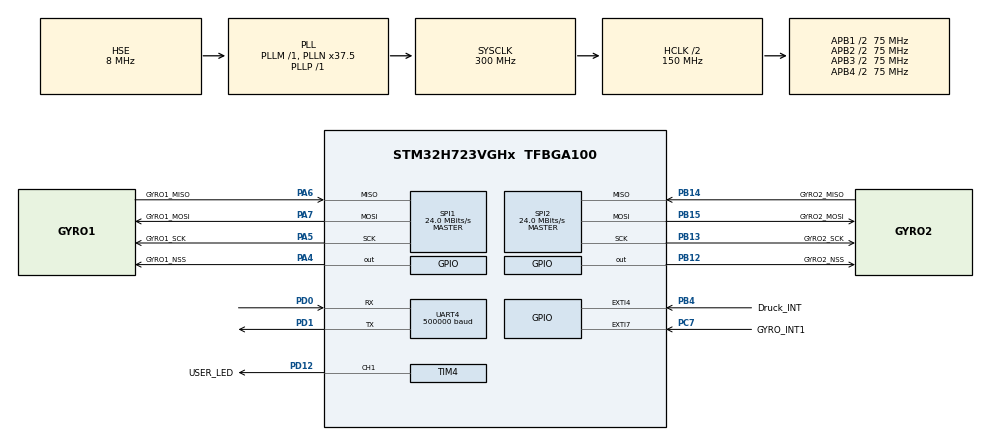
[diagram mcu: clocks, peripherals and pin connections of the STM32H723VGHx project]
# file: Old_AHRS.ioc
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ADC3.Channel-0\#ChannelRegularConversion=ADC_CHANNEL_TEMPSENSOR
ADC3.ClockPrescaler=ADC_CLOCK_ASYNC_DIV4
ADC3.NbrOfConversionFlag=1
ADC3.OffsetNumber-0\#ChannelRegularConversion=ADC_OFFSET_NONE
ADC3.OffsetSign-0\#ChannelRegularConversion=ADC3_OFFSET_SIGN_NEGATIVE
ADC3.Rank-0\#ChannelRegularConversion=1
ADC3.SamplingTime-0\#ChannelRegularConversion=ADC3_SAMPLETIME_2CYCLES_5
DTS.SamplingTime=DTS_SMP_TIME_15_CYCLE
Dma.Request0=SPI1_RX
Dma.Request1=SPI1_TX
Dma.SPI1_RX.0.Direction=DMA_PERIPH_TO_MEMORY
Dma.SPI1_RX.0.EventEnable=DISABLE
Dma.SPI1_RX.0.FIFOMode=DMA_FIFOMODE_DISABLE
Dma.SPI1_RX.0.Instance=DMA1_Stream0
Dma.SPI1_RX.0.MemDataAlignment=DMA_MDATAALIGN_BYTE
Dma.SPI1_RX.0.MemInc=DMA_MINC_ENABLE
Dma.SPI1_RX.0.Mode=DMA_NORMAL
Dma.SPI1_RX.0.PeriphDataAlignment=DMA_PDATAALIGN_BYTE
Dma.SPI1_RX.0.PeriphInc=DMA_PINC_DISABLE
Dma.SPI1_RX.0.Polarity=HAL_DMAMUX_REQ_GEN_RISING
Dma.SPI1_RX.0.Priority=DMA_PRIORITY_LOW
Dma.SPI1_RX.0.RequestNumber=1
Dma.SPI1_RX.0.SignalID=NONE
Dma.SPI1_RX.0.SyncEnable=DISABLE
Dma.SPI1_RX.0.SyncPolarity=HAL_DMAMUX_SYNC_NO_EVENT
Dma.SPI1_RX.0.SyncRequestNumber=1
Dma.SPI1_RX.0.SyncSignalID=NONE
Dma.SPI1_TX.1.Direction=DMA_MEMORY_TO_PERIPH
Dma.SPI1_TX.1.EventEnable=DISABLE
Dma.SPI1_TX.1.FIFOMode=DMA_FIFOMODE_DISABLE
Dma.SPI1_TX.1.Instance=DMA1_Stream1
Dma.SPI1_TX.1.MemDataAlignment=DMA_MDATAALIGN_BYTE
Dma.SPI1_TX.1.MemInc=DMA_MINC_ENABLE
Dma.SPI1_TX.1.Mode=DMA_NORMAL
Dma.SPI1_TX.1.PeriphDataAlignment=DMA_PDATAALIGN_BYTE
Dma.SPI1_TX.1.PeriphInc=DMA_PINC_DISABLE
Dma.SPI1_TX.1.Polarity=HAL_DMAMUX_REQ_GEN_RISING
Dma.SPI1_TX.1.Priority=DMA_PRIORITY_LOW
Dma.SPI1_TX.1.RequestNumber=1
Dma.SPI1_TX.1.SignalID=NONE
Dma.SPI1_TX.1.SyncEnable=DISABLE
Dma.SPI1_TX.1.SyncPolarity=HAL_DMAMUX_SYNC_NO_EVENT
Dma.SPI1_TX.1.SyncRequestNumber=1
Dma.SPI1_TX.1.SyncSignalID=NONE
Mcu.Family=STM32H7
Mcu.Name=STM32H723VGHx
Mcu.Package=TFBGA100
NVIC.DMA1_Stream0_IRQn=true\:0\:0\:false\:false\:true\:false\:true\:true
NVIC.DMA1_Stream1_IRQn=true\:0\:0\:false\:false\:true\:false\:true\:true
NVIC.EXTI4_IRQn=true\:0\:0\:false\:false\:true\:true\:true\:true
NVIC.EXTI9_5_IRQn=true\:0\:0\:false\:false\:true\:true\:true\:false
NVIC.PriorityGroup=NVIC_PRIORITYGROUP_4
NVIC.SPI1_IRQn=true\:0\:0\:false\:false\:true\:true\:true\:true
NVIC.SPI2_IRQn=true\:0\:0\:false\:false\:true\:true\:true\:true
NVIC.TIM4_IRQn=true\:0\:0\:false\:false\:true\:true\:true\:true
PA13(JTMS/SWDIO).Mode=Trace_Asynchronous_SW
PA13(JTMS/SWDIO).Signal=DEBUG_JTMS-SWDIO
PA14(JTCK/SWCLK).Mode=Trace_Asynchronous_SW
PA14(JTCK/SWCLK).Signal=DEBUG_JTCK-SWCLK
PA4.GPIO_Label=GYRO1_NSS
PA4.Signal=GPIO_Output
PA5.GPIO_Label=GYRO1_SCK
PA5.Mode=Full_Duplex_Master
PA5.Signal=SPI1_SCK
PA6.GPIO_Label=GYRO1_MISO
PA6.Mode=Full_Duplex_Master
PA6.Signal=SPI1_MISO
PA7.GPIO_Label=GYRO1_MOSI
PA7.Mode=Full_Duplex_Master
PA7.Signal=SPI1_MOSI
PB12.GPIO_Label=GYRO2_NSS
PB12.GPIO_Speed=GPIO_SPEED_FREQ_MEDIUM
PB12.PinState=GPIO_PIN_SET
PB12.Signal=GPIO_Output
PB13.GPIO_Label=GYRO2_SCK
PB13.GPIO_Mode=GPIO_MODE_AF_PP
PB13.GPIO_PuPd=GPIO_NOPULL
PB13.GPIO_Speed=GPIO_SPEED_FREQ_LOW
PB13.Mode=Full_Duplex_Master
PB13.Signal=SPI2_SCK
PB14.GPIO_Label=GYRO2_MISO
PB14.GPIO_Mode=GPIO_MODE_AF_PP
PB14.GPIO_PuPd=GPIO_NOPULL
PB14.GPIO_Speed=GPIO_SPEED_FREQ_LOW
PB14.Mode=Full_Duplex_Master
PB14.Signal=SPI2_MISO
PB15.GPIO_Label=GYRO2_MOSI
PB15.GPIO_Mode=GPIO_MODE_AF_PP
PB15.GPIO_PuPd=GPIO_NOPULL
PB15.GPIO_Speed=GPIO_SPEED_FREQ_LOW
PB15.Mode=Full_Duplex_Master
PB15.Signal=SPI2_MOSI
PB3(JTDO/TRACESWO).Mode=Trace_Asynchronous_SW
PB3(JTDO/TRACESWO).Signal=DEBUG_JTDO-SWO
PB4(NJTRST).GPIO_Label=Druck_INT
PB4(NJTRST).Signal=GPXTI4
PC7.GPIO_Label=GYRO_INT1
PC7.Signal=GPXTI7
PD0.Mode=Asynchronous
PD0.Signal=UART4_RX
PD1.Mode=Asynchronous
PD1.Signal=UART4_TX
PD12.GPIO_Label=USER_LED
PD12.Signal=S_TIM4_CH1
PH0-OSC_IN.Mode=HSE-External-Oscillator
PH0-OSC_IN.Signal=RCC_OSC_IN
PH1-OSC_OUT.Mode=HSE-External-Oscillator
PH1-OSC_OUT.Signal=RCC_OSC_OUT
ProjectManager.HeapSize=0x200
ProjectManager.StackSize=0x400
ProjectManager.TargetToolchain=STM32CubeIDE
RCC.ADCFreq_Value=48000000
RCC.APB1Freq_Value=75000000
RCC.APB2Freq_Value=75000000
RCC.APB3Freq_Value=75000000
RCC.APB4Freq_Value=75000000
RCC.CortexFreq_Value=37500000
RCC.Cortex_Div=SYSTICK_CLKSOURCE_HCLK_DIV8
RCC.D1PPRE=RCC_APB3_DIV2
RCC.D2PPRE1=RCC_APB1_DIV2
RCC.D2PPRE2=RCC_APB2_DIV2
RCC.D3PPRE=RCC_APB4_DIV2
RCC.DIVM1=1
RCC.DIVM2=1
RCC.DIVN1=37
RCC.DIVN2=24
RCC.DIVP1=1
RCC.DIVP2=4
RCC.DIVQ1=5
RCC.EnbaleCSS=false
RCC.FDCANCLockSelection=RCC_FDCANCLKSOURCE_HSE
RCC.HCLKFreq_Value=150000000
RCC.HPRE=RCC_HCLK_DIV2
RCC.HSE_VALUE=8000000
RCC.PLL1_VCO_SEL-AdvancedSettings=RCC_PLL1VCOWIDE
RCC.PLL2FRACN=0
RCC.PLL2_VCO_SEL-AdvancedSettings=RCC_PLL2VCOMEDIUM
RCC.PLL3FRACN=0
RCC.PLL3_VCO_SEL-AdvancedSettings=RCC_PLL3VCOMEDIUM
RCC.PLLFRACN=4096
RCC.PLLSourceVirtual=RCC_PLLSOURCE_HSE
RCC.SPI123CLockSelection=RCC_SPI123CLKSOURCE_PLL2
RCC.SYSCLKFreq_VALUE=300000000
RCC.SYSCLKSource=RCC_SYSCLKSOURCE_PLLCLK
RCC.USBFreq_Value=60000000
SH.S_TIM4_CH1.0=TIM4_CH1,PWM Generation1 CH1
SPI1.BaudRatePrescaler=SPI_BAUDRATEPRESCALER_2
SPI1.CLKPhase=SPI_PHASE_2EDGE
SPI1.CLKPolarity=SPI_POLARITY_HIGH
SPI1.CalculateBaudRate=24.0 MBits/s
SPI1.DataSize=SPI_DATASIZE_8BIT
SPI1.Direction=SPI_DIRECTION_2LINES
SPI1.Mode=SPI_MODE_MASTER
SPI1.NSSPMode=SPI_NSS_PULSE_DISABLE
SPI1.VirtualType=VM_MASTER
SPI2.BaudRatePrescaler=SPI_BAUDRATEPRESCALER_2
SPI2.CLKPhase=SPI_PHASE_2EDGE
SPI2.CLKPolarity=SPI_POLARITY_HIGH
SPI2.CalculateBaudRate=24.0 MBits/s
SPI2.DataSize=SPI_DATASIZE_8BIT
SPI2.Direction=SPI_DIRECTION_2LINES
SPI2.Mode=SPI_MODE_MASTER
SPI2.NSSPMode=SPI_NSS_PULSE_DISABLE
SPI2.VirtualType=VM_MASTER
TIM3.Period=8593
TIM3.Prescaler=0
TIM4.Channel-PWM\ Generation1\ CH1=TIM_CHANNEL_1
TIM4.ClockDivision=TIM_CLOCKDIVISION_DIV1
TIM4.CounterMode=TIM_COUNTERMODE_UP
TIM4.Period=13749
TIM4.Prescaler=9999
UART4.BaudRate=500000
VP_ADC3_TempSens_Input.Mode=IN-TempSens
VP_CORDIC_VS_CORDIC.Mode=CORDIC_Activate
VP_DTS_VS-DTS.Mode=DTS
VP_TIM3_VS_ClockSourceINT.Mode=Internal
VP_TIM4_VS_ClockSourceINT.Mode=Internal
board=custom

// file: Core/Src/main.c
/* USER CODE BEGIN Header */
/**
  ******************************************************************************
  * @file           : main.c
  * @brief          : Main program body
  ******************************************************************************
  * @attention
  *
  * Copyright (c) 2024 STMicroelectronics.
  * All rights reserved.
  *
  * This software is licensed under terms that can be found in the LICENSE file
  * in the root directory of this software component.
  * If no LICENSE file comes with this software, it is provided AS-IS.
  *
  ******************************************************************************
  */
/* USER CODE END Header */
#include "main.h"
#include "adc.h"
#include "cordic.h"
#include "dma.h"
#include "dts.h"
#include "spi.h"
#include "tim.h"
#include "usart.h"
#include "gpio.h"

/* USER CODE BEGIN Includes */

#include "string.h"
#include "math.h"
#include "STM32_Cordic.h"
#include "stdio.h"
#include "IMU_struct.h"
#include "IMU_cmds.h"

/* USER CODE END Includes */

/* USER CODE BEGIN PV */

const float PI = 3.14159265359;

//Magnetometer variables 0xD << 1
const uint16_t QMC5833_ADDR = (0xD << 1);
int Magnetometer_Set_up_done = 0;// 0 set up not yet done | 1 set up is done
uint8_t raw_int_Magnetometer_data[6] = {0};
int16_t int_Megnetometer_data[3] = {0};
float  Magnetometer_data[3] = {0};
int new_Magnetometer_data = 0;//Indicates new Magnetometer data

//Pressure sensor variables
const uint16_t BMP388_ADDR = (0b1110110);

//IMU variables
extern uint8_t IMU1_SPI_IT_Finished;
extern uint8_t IMU2_SPI_IT_Finished;

/* USER CODE END PV */

void SystemClock_Config(void);
void PeriphCommonClock_Config(void);
/* USER CODE BEGIN PFP */

HAL_StatusTypeDef debug_uart4_write_text(char *pData);
HAL_StatusTypeDef debug_uart4_write_float(float number);
HAL_StatusTypeDef debug_uart4_write_int(int number);
void Debug_send_Tempreture(void);
void HAL_GPIO_EXTI_Callback(uint16_t GPIO_Pin);
void HAL_SPI_TxRxCpltCallback(SPI_HandleTypeDef *hspi);

/* USER CODE END PFP */

int main(void)
{

  /* MCU Configuration--------------------------------------------------------*/

  /* Reset of all peripherals, Initializes the Flash interface and the Systick. */
  HAL_Init();

  /* Configure the system clock */
  SystemClock_Config();

/* Configure the peripherals common clocks */
  PeriphCommonClock_Config();

  /* Initialize all configured peripherals */
  MX_GPIO_Init();
  MX_DMA_Init();
  MX_UART4_Init();
  MX_SPI2_Init();
  MX_TIM4_Init();
  MX_TIM3_Init();
  MX_ADC3_Init();
  MX_DTS_Init();
  MX_CORDIC_Init();
  MX_SPI1_Init();
  /* USER CODE BEGIN 2 */

  //UART Debuging prep
  uint8_t buffer[50];
  memset(buffer, 0, sizeof(buffer));

  HAL_TIM_PWM_Start(&htim4, TIM_CHANNEL_1); //Start USER LED
  TIM4->CCR1 = 6874; // f ~ +2Hz

  //Starten des empfangens einer UART Nachricht
  //HAL_UARTEx_ReceiveToIdle_DMA(&huart4, rxbuffer, sizeof(rxbuffer));

  HAL_DTS_Start(&hdts);//Starts the digital tempreture sensor

  //Initialisation of the IMU structs
  IMU IMU1_data;
  IMU_struct_set_up(&IMU1_data, IMU1_accel_scale, IMU1_gyro_scale, IMU1_freq);
  IMU1_data.SPI_handler = hspi1;
  IMU1_data.GPIO_port = GYRO1_NSS_GPIO_Port;
  IMU1_data.GPIO_Pin = GYRO1_NSS_Pin;

  IMU IMU2_data;
  IMU_struct_set_up(&IMU2_data, IMU2_accel_scale, IMU2_gyro_scale, IMU2_freq);
  IMU2_data.SPI_handler = hspi2;
  IMU2_data.GPIO_port = GYRO2_NSS_GPIO_Port;
  IMU2_data.GPIO_Pin = GYRO2_NSS_Pin;

  HAL_NVIC_EnableIRQ(SPI1_IRQn);
  HAL_NVIC_EnableIRQ(SPI2_IRQn);

	uint16_t length = 2;
	uint8_t TXData[2] = {117 | 0x80, 0}; // 0x80 results in a Read-operation
	uint8_t RXData[2] = {0, 111};

	uint8_t ERROR_NOTICE = 0;
	uint32_t SPI1_ERROR_COUNT = 0;
	uint32_t SPI2_ERROR_COUNT = 0;

	HAL_Delay(50);
	int i = 1;

  /* USER CODE END 2 */

  /* Infinite loop */
  /* USER CODE BEGIN WHILE */
  while (1)
  {
	  RXData[1] = 25;

	  if(IMU_send_cmd(&IMU1_data, TXData, RXData, length) != HAL_OK)
	  {
		  debug_uart4_write_text("\nSPI1 HAL ERROR");
	  }
	//IMU1_SPI_IT_Finished = 0;
	/*HAL_GPIO_WritePin(IMU1_data.GPIO_port, IMU1_data.GPIO_Pin, GPIO_PIN_RESET );
	HAL_SPI_TransmitReceive_IT(&hspi1, TXData, RXData, length);
	while(IMU1_SPI_IT_Finished == 0)
		{

		}
	HAL_GPIO_WritePin(IMU1_data.GPIO_port, IMU1_data.GPIO_Pin, GPIO_PIN_RESET );
	HAL_SPI_TransmitReceive_DMA(&hspi1, TXData, RXData, length);
	while(IMU1_SPI_IT_Finished == 0)
		{

		}*/

	  debug_uart4_write_text("\nWHO AM I (1): ");debug_uart4_write_int((int)RXData[1]);

	  if(RXData[1] != 71)
	  {
		  SPI1_ERROR_COUNT++;
		  ERROR_NOTICE = 1;
	  }

	  RXData[1] = 25;

	  if(IMU_send_cmd(&IMU2_data, TXData, RXData, length) != HAL_OK)
	  {
		  debug_uart4_write_text("\nSPI2 HAL ERROR");
	  }
	  /*
	  HAL_GPIO_WritePin(IMU2_data.GPIO_port, IMU1_data.GPIO_Pin, GPIO_PIN_RESET );
	  HAL_SPI_TransmitReceive_IT(&hspi2, TXData, RXData, length);
	  while(IMU2_SPI_IT_Finished == 0);
	  */

	  debug_uart4_write_text("; WHO AM I (2): ");debug_uart4_write_int((int)RXData[1]);

	  if(RXData[1] != 71)
	  {
		  SPI2_ERROR_COUNT++;
		  ERROR_NOTICE = 1;
	  }

	  if(ERROR_NOTICE == 1)
	  {
		  debug_uart4_write_text("  ");debug_uart4_write_int((int)SPI1_ERROR_COUNT);debug_uart4_write_text(" SPI1 errors, ");debug_uart4_write_int((int)SPI2_ERROR_COUNT);debug_uart4_write_text(" SPI2 errors");
	  }

    /* USER CODE END WHILE */

    /* USER CODE BEGIN 3 */
	  Debug_send_Tempreture();
	  HAL_Delay(i);

	  debug_uart4_write_text("\n Delay length(ms): ");debug_uart4_write_int(i);
	  i++;
  }
  /* USER CODE END 3 */
}

void SystemClock_Config(void)
{
  RCC_OscInitTypeDef RCC_OscInitStruct = {0};
  RCC_ClkInitTypeDef RCC_ClkInitStruct = {0};

  /** Supply configuration update enable
  */
  HAL_PWREx_ConfigSupply(PWR_LDO_SUPPLY);

  /** Configure the main internal regulator output voltage
  */
  __HAL_PWR_VOLTAGESCALING_CONFIG(PWR_REGULATOR_VOLTAGE_SCALE2);

  while(!__HAL_PWR_GET_FLAG(PWR_FLAG_VOSRDY)) {}

  /** Initializes the RCC Oscillators according to the specified parameters
  * in the RCC_OscInitTypeDef structure.
  */
  RCC_OscInitStruct.OscillatorType = RCC_OSCILLATORTYPE_HSE;
  RCC_OscInitStruct.HSEState = RCC_HSE_ON;
  RCC_OscInitStruct.PLL.PLLState = RCC_PLL_ON;
  RCC_OscInitStruct.PLL.PLLSource = RCC_PLLSOURCE_HSE;
  RCC_OscInitStruct.PLL.PLLM = 1;
  RCC_OscInitStruct.PLL.PLLN = 37;
  RCC_OscInitStruct.PLL.PLLP = 1;
  RCC_OscInitStruct.PLL.PLLQ = 5;
  RCC_OscInitStruct.PLL.PLLR = 2;
  RCC_OscInitStruct.PLL.PLLRGE = RCC_PLL1VCIRANGE_3;
  RCC_OscInitStruct.PLL.PLLVCOSEL = RCC_PLL1VCOWIDE;
  RCC_OscInitStruct.PLL.PLLFRACN = 4096;
  if (HAL_RCC_OscConfig(&RCC_OscInitStruct) != HAL_OK)
  {
    Error_Handler();
  }

  /** Initializes the CPU, AHB and APB buses clocks
  */
  RCC_ClkInitStruct.ClockType = RCC_CLOCKTYPE_HCLK|RCC_CLOCKTYPE_SYSCLK
                              |RCC_CLOCKTYPE_PCLK1|RCC_CLOCKTYPE_PCLK2
                              |RCC_CLOCKTYPE_D3PCLK1|RCC_CLOCKTYPE_D1PCLK1;
  RCC_ClkInitStruct.SYSCLKSource = RCC_SYSCLKSOURCE_PLLCLK;
  RCC_ClkInitStruct.SYSCLKDivider = RCC_SYSCLK_DIV1;
  RCC_ClkInitStruct.AHBCLKDivider = RCC_HCLK_DIV2;
  RCC_ClkInitStruct.APB3CLKDivider = RCC_APB3_DIV2;
  RCC_ClkInitStruct.APB1CLKDivider = RCC_APB1_DIV2;
  RCC_ClkInitStruct.APB2CLKDivider = RCC_APB2_DIV2;
  RCC_ClkInitStruct.APB4CLKDivider = RCC_APB4_DIV2;

  if (HAL_RCC_ClockConfig(&RCC_ClkInitStruct, FLASH_LATENCY_2) != HAL_OK)
  {
    Error_Handler();
  }
}

void PeriphCommonClock_Config(void)
{
  RCC_PeriphCLKInitTypeDef PeriphClkInitStruct = {0};

  /** Initializes the peripherals clock
  */
  PeriphClkInitStruct.PeriphClockSelection = RCC_PERIPHCLK_ADC|RCC_PERIPHCLK_SPI2
                              |RCC_PERIPHCLK_SPI1;
  PeriphClkInitStruct.PLL2.PLL2M = 1;
  PeriphClkInitStruct.PLL2.PLL2N = 24;
  PeriphClkInitStruct.PLL2.PLL2P = 4;
  PeriphClkInitStruct.PLL2.PLL2Q = 2;
  PeriphClkInitStruct.PLL2.PLL2R = 2;
  PeriphClkInitStruct.PLL2.PLL2RGE = RCC_PLL2VCIRANGE_3;
  PeriphClkInitStruct.PLL2.PLL2VCOSEL = RCC_PLL2VCOWIDE;
  PeriphClkInitStruct.PLL2.PLL2FRACN = 0;
  PeriphClkInitStruct.Spi123ClockSelection = RCC_SPI123CLKSOURCE_PLL2;
  PeriphClkInitStruct.AdcClockSelection = RCC_ADCCLKSOURCE_PLL2;
  if (HAL_RCCEx_PeriphCLKConfig(&PeriphClkInitStruct) != HAL_OK)
  {
    Error_Handler();
  }
}

/* USER CODE BEGIN 4 */
void Debug_send_Tempreture(void)
{
	//Digital temperature sensor has to be enabeled before call
	int32_t Temperature;
	  debug_uart4_write_text("\nMCU temp: ");
	  HAL_DTS_GetTemperature(&hdts, &Temperature);//acquires a sensor reading
	  debug_uart4_write_int((int)Temperature);
	  debug_uart4_write_text("° \n");
}

HAL_StatusTypeDef debug_uart4_write_int(int number)
{
	//Sends a number over UART
	char temp[15] = {0};
	sprintf(temp, "%d", number );
	if (HAL_UART_Transmit(&huart4, temp, 10, 10000) != HAL_OK)
	  {
	    return HAL_ERROR;
	  }
	return HAL_OK;
}

HAL_StatusTypeDef debug_uart4_write_text(char *pData)
{
	//Sends a text message over UART
	if (HAL_UART_Transmit(&huart4, pData, strlen(pData), 10000) != HAL_OK)
	{
	  return HAL_ERROR;
	}
	return HAL_OK;
}

HAL_StatusTypeDef debug_uart4_write_float(float number)
{
	//Sends a number over UART
	char temp[15];
	memset(temp, 0, 15);
	sprintf(temp, "%f", number );
	if (HAL_UART_Transmit(&huart4, temp, 10, 10000) != HAL_OK)
	  {
	    return HAL_ERROR;
	  }
	return HAL_OK;
}
/* USER CODE END 4 */

void Error_Handler(void)
{
  __disable_irq();
  while (1)
  {
  }
}
